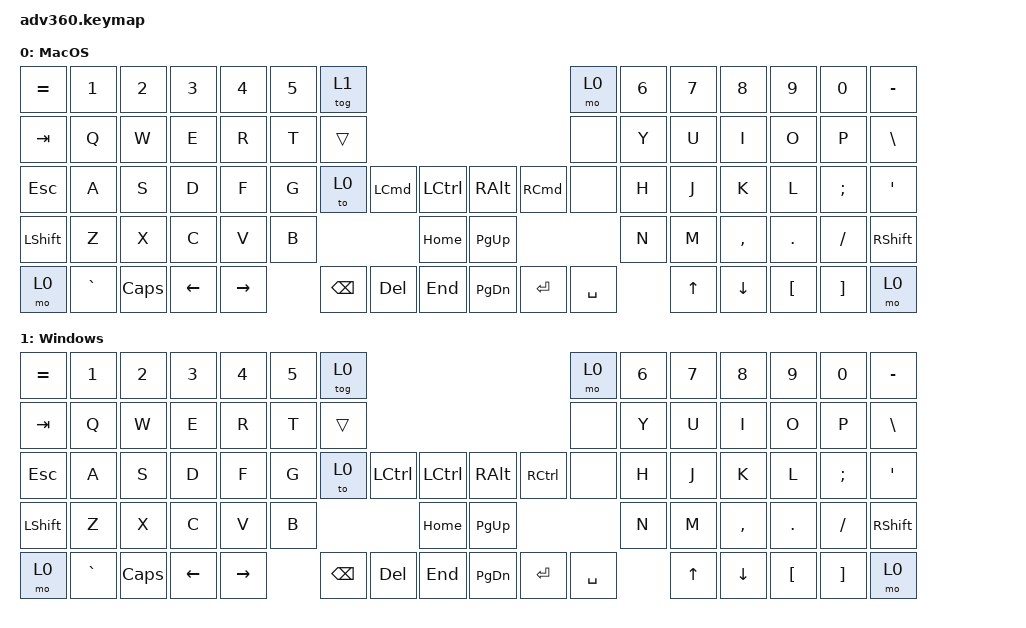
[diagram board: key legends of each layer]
#include <behaviors.dtsi>
#include <dt-bindings/zmk/keys.h>

/ {
    behaviors {
        #include "macros.dtsi"
      #include "version.dtsi"
      #ifndef VERSION_MACRO

        macro_ver: macro_ver {
            compatible = "zmk,behavior-macro";
            label = "macro_version";
            #binding-cells = <0>;
            bindings = <&kp RET>;
        };

        #endif

        hm: homerow_mods {
            compatible = "zmk,behavior-hold-tap";
            label = "HOMEROW_MODS";
            #binding-cells = <2>;
            tapping-term-ms = <200>;
            quick_tap_ms = <175>;
            flavor = "tap-preferred";
            bindings = <&kp>, <&kp>;
        };
    };

    macros {
    };

    keymap {
        compatible = "zmk,keymap";

        MacOS {
            bindings = <
&kp EQUAL  &kp N1     &kp N2    &kp N3    &kp N4     &kp N5  &tog 1                                                               &mo 0      &kp N6  &kp N7  &kp N8     &kp N9    &kp N0    &kp MINUS
&kp TAB    &kp Q      &kp W     &kp E     &kp R      &kp T   &trans                                                               &none      &kp Y   &kp U   &kp I      &kp O     &kp P     &kp BSLH
&kp ESC    &kp A      &kp S     &kp D     &kp F      &kp G   &to 0     &kp LEFT_COMMAND  &kp LCTRL      &kp RIGHT_ALT  &kp RCMD   &none      &kp H   &kp J   &kp K      &kp L     &kp SEMI  &kp SQT
&kp LSHFT  &kp Z      &kp X     &kp C     &kp V      &kp B                               &kp HOME       &kp PG_UP                            &kp N   &kp M   &kp COMMA  &kp DOT   &kp FSLH  &kp RSHFT
&mo 0      &kp GRAVE  &kp CAPS  &kp LEFT  &kp RIGHT          &kp BSPC  &kp DEL           &kp END        &kp PG_DN      &kp ENTER  &kp SPACE          &kp UP  &kp DOWN   &kp LBKT  &kp RBKT  &mo 0
            >;
        };

        Windows {
            bindings = <
&kp EQUAL  &kp N1     &kp N2    &kp N3    &kp N4     &kp N5  &tog 0                                                                       &mo 0      &kp N6  &kp N7  &kp N8     &kp N9    &kp N0    &kp MINUS
&kp TAB    &kp Q      &kp W     &kp E     &kp R      &kp T   &trans                                                                       &none      &kp Y   &kp U   &kp I      &kp O     &kp P     &kp BSLH
&kp ESC    &kp A      &kp S     &kp D     &kp F      &kp G   &to 0     &kp LEFT_CONTROL  &kp LCTRL      &kp RIGHT_ALT  &kp RIGHT_CONTROL  &none      &kp H   &kp J   &kp K      &kp L     &kp SEMI  &kp SQT
&kp LSHFT  &kp Z      &kp X     &kp C     &kp V      &kp B                               &kp HOME       &kp PG_UP                                    &kp N   &kp M   &kp COMMA  &kp DOT   &kp FSLH  &kp RSHFT
&mo 0      &kp GRAVE  &kp CAPS  &kp LEFT  &kp RIGHT          &kp BSPC  &kp DEL           &kp END        &kp PG_DN      &kp ENTER          &kp SPACE          &kp UP  &kp DOWN   &kp LBKT  &kp RBKT  &mo 0
            >;
        };
    };
};
